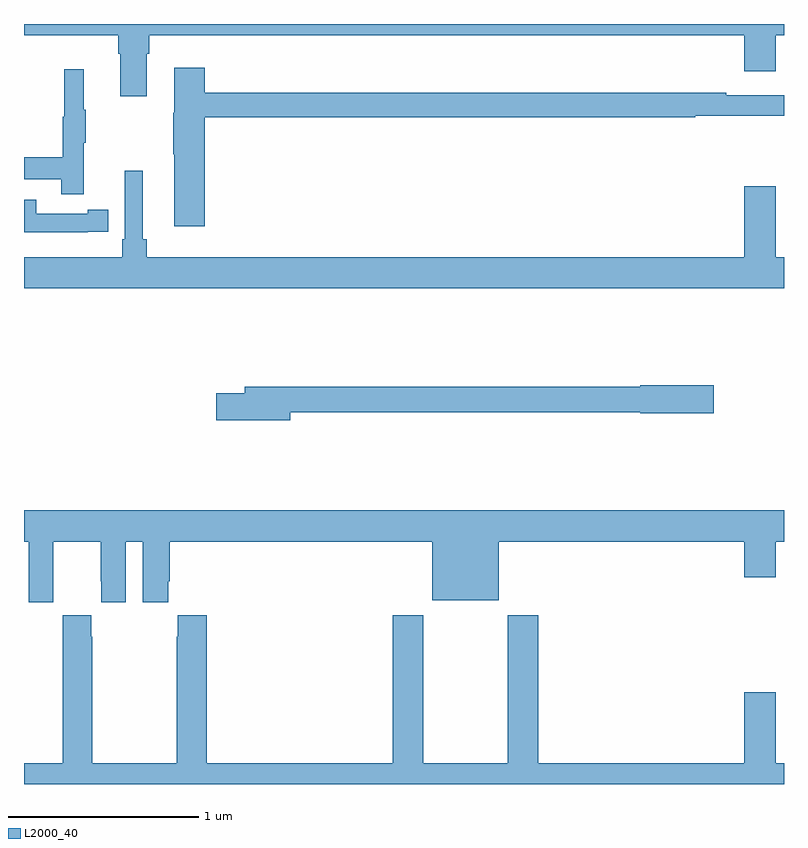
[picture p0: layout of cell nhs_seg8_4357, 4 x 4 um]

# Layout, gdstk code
import gdstk
lib = gdstk.Library(unit=1e-6, precision=1e-09)
def P(c, l, *ps):  # polygons
    for p in ps: c.add(gdstk.Polygon(p, *l))
L2000_40 = (2000, 40)

nhs_seg8_4357 = lib.new_cell('nhs_seg8_4357')
P(nhs_seg8_4357, L2000_40, [(377.647,1109.744),(377.66,1109.744),(377.66,1109.84),(380.792,1109.84),(380.792,1109.652),(380.956,1109.652),(380.956,1109.84),(381,1109.84),(381,1109.9),(377,1109.9),(377,1109.84),(377.495,1109.84),(377.495,1109.744),(377.507,1109.744),(377.507,1109.52),(377.647,1109.52)],
  [(377.951,1109.41),(380.532,1109.41),(380.532,1109.418),(381,1109.418),(381,1109.526),(380.696,1109.526),(380.696,1109.539),(377.951,1109.539),(377.951,1109.671),(377.792,1109.671),(377.792,1109.433),(377.785,1109.433),(377.785,1109.215),(377.792,1109.215),(377.792,1108.836),(377.951,1108.836)],
  [(377.315,1109.275),(377.326,1109.275),(377.326,1109.449),(377.315,1109.449),(377.315,1109.662),(377.212,1109.662),(377.212,1109.412),(377.205,1109.412),(377.205,1109.198),(377,1109.198),(377,1109.082),(377.197,1109.082),(377.197,1109.004),(377.315,1109.004)],
  [(381,1108.672),(380.956,1108.672),(380.956,1109.047),(380.792,1109.047),(380.792,1108.672),(377.645,1108.672),(377.645,1108.768),(377.626,1108.768),(377.626,1109.128),(377.529,1109.128),(377.529,1108.768),(377.516,1108.768),(377.516,1108.672),(377,1108.672),(377,1108.508),(381,1108.508)],
  [(377.336,1108.806),(377.444,1108.806),(377.444,1108.922),(377.336,1108.922),(377.336,1108.902),(377.064,1108.902),(377.064,1108.974),(377,1108.974),(377,1108.805),(377.336,1108.805)],
  [(378.4,1107.856),(380.244,1107.856),(380.244,1107.851),(380.629,1107.851),(380.629,1107.998),(380.244,1107.998),(380.244,1107.992),(378.161,1107.992),(378.161,1107.956),(378.012,1107.956),(378.012,1107.814),(378.4,1107.814)],
  [(377.154,1106.968),(377.155,1106.968),(377.155,1107.176),(377.405,1107.176),(377.405,1106.968),(377.406,1106.968),(377.406,1106.856),(377.536,1106.856),(377.536,1107.176),(377.624,1107.176),(377.624,1106.856),(377.758,1106.856),(377.758,1106.968),(377.768,1106.968),(377.768,1107.176),(379.148,1107.176),(379.148,1106.867),(379.498,1106.867),(379.498,1107.176),(380.792,1107.176),(380.792,1106.988),(380.956,1106.988),(380.956,1107.176),(381,1107.176),(381,1107.34),(377,1107.34),(377,1107.176),(377.024,1107.176),(377.024,1106.856),(377.154,1106.856)],
  [(381,1106.008),(380.956,1106.008),(380.956,1106.383),(380.792,1106.383),(380.792,1106.008),(379.706,1106.008),(379.706,1106.788),(379.546,1106.788),(379.546,1106.008),(379.101,1106.008),(379.101,1106.788),(378.941,1106.788),(378.941,1106.008),(377.963,1106.008),(377.963,1106.788),(377.809,1106.788),(377.809,1106.675),(377.803,1106.675),(377.803,1106.008),(377.358,1106.008),(377.358,1106.675),(377.355,1106.675),(377.355,1106.788),(377.205,1106.788),(377.205,1106.675),(377.203,1106.675),(377.203,1106.008),(377,1106.008),(377,1105.9),(381,1105.9)])

lib.write_gds('nhs_seg8_4357.gds')
